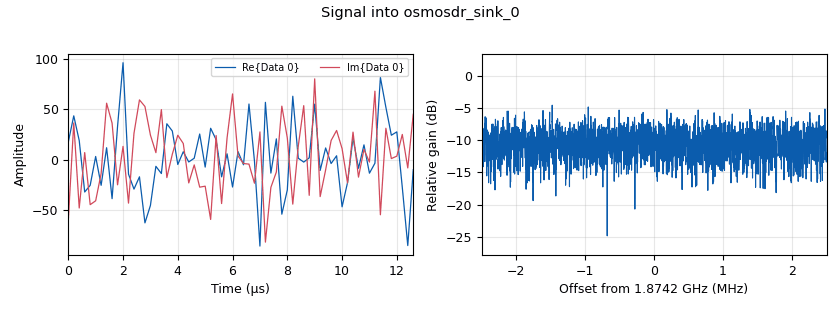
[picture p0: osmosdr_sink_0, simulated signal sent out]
<?xml version='1.0' encoding='utf-8'?>
<?grc format='1' created='3.7.11'?>
<flow_graph>
<block>
<key>options</key>
<param><key>id</key><value>jammer_gen</value></param>
<param><key>category</key><value>Custom</value></param>
<param><key>generate_options</key><value>wx_gui</value></param>
</block>
<block>
<key>variable_slider</key>
<param><key>id</key><value>bandwidth</value></param>
<param><key>converver</key><value>float_converter</value></param>
<param><key>value</key><value>var_bandwidth</value></param>
<param><key>label</key><value>Bandwidth</value></param>
<param><key>max</key><value>50e6</value></param>
<param><key>min</key><value>2e6</value></param>
<param><key>num_steps</key><value>10</value></param>
<param><key>style</key><value>wx.SL_HORIZONTAL</value></param>
</block>
<block>
<key>variable_slider</key>
<param><key>id</key><value>bb_gain</value></param>
<param><key>converver</key><value>float_converter</value></param>
<param><key>value</key><value>var_bb_gain</value></param>
<param><key>label</key><value>BB gain</value></param>
<param><key>max</key><value>60</value></param>
<param><key>min</key><value>10</value></param>
<param><key>num_steps</key><value>10</value></param>
<param><key>style</key><value>wx.SL_HORIZONTAL</value></param>
</block>
<block>
<key>variable_slider</key>
<param><key>id</key><value>cent_freq</value></param>
<param><key>converver</key><value>float_converter</value></param>
<param><key>value</key><value>var_cent_freq</value></param>
<param><key>label</key><value>Freq</value></param>
<param><key>max</key><value>2200e6</value></param>
<param><key>min</key><value>900e6</value></param>
<param><key>num_steps</key><value>500</value></param>
<param><key>style</key><value>wx.SL_HORIZONTAL</value></param>
</block>
<block>
<key>variable_slider</key>
<param><key>id</key><value>if_gain</value></param>
<param><key>converver</key><value>float_converter</value></param>
<param><key>value</key><value>var_if_gain</value></param>
<param><key>label</key><value>IF gain</value></param>
<param><key>max</key><value>60</value></param>
<param><key>min</key><value>10</value></param>
<param><key>num_steps</key><value>10</value></param>
<param><key>style</key><value>wx.SL_HORIZONTAL</value></param>
</block>
<block>
<key>variable_slider</key>
<param><key>id</key><value>rf_gain</value></param>
<param><key>converver</key><value>float_converter</value></param>
<param><key>value</key><value>var_rf_gain</value></param>
<param><key>label</key><value>RF gain</value></param>
<param><key>max</key><value>60</value></param>
<param><key>min</key><value>10</value></param>
<param><key>num_steps</key><value>10</value></param>
<param><key>style</key><value>wx.SL_HORIZONTAL</value></param>
</block>
<block>
<key>variable</key>
<param><key>id</key><value>samp_rate</value></param>
<param><key>value</key><value>5e6</value></param>
</block>
<block>
<key>variable_slider</key>
<param><key>id</key><value>sample_rate</value></param>
<param><key>converver</key><value>float_converter</value></param>
<param><key>value</key><value>samp_rate</value></param>
<param><key>label</key><value>Sample rate</value></param>
<param><key>max</key><value>20e6</value></param>
<param><key>min</key><value>2e6</value></param>
<param><key>num_steps</key><value>10</value></param>
<param><key>style</key><value>wx.SL_HORIZONTAL</value></param>
</block>
<block>
<key>variable</key>
<param><key>id</key><value>var_bandwidth</value></param>
<param><key>value</key><value>10e6</value></param>
</block>
<block>
<key>variable</key>
<param><key>id</key><value>var_bb_gain</value></param>
<param><key>value</key><value>10</value></param>
</block>
<block>
<key>variable</key>
<param><key>id</key><value>var_cent_freq</value></param>
<param><key>value</key><value>1874200000</value></param>
</block>
<block>
<key>variable</key>
<param><key>id</key><value>var_if_gain</value></param>
<param><key>value</key><value>10</value></param>
</block>
<block>
<key>variable</key>
<param><key>id</key><value>var_rf_gain</value></param>
<param><key>value</key><value>10</value></param>
</block>
<block>
<key>analog_noise_source_x</key>
<param><key>id</key><value>analog_noise_source_x_0</value></param>
<param><key>amp</key><value>50</value></param>
<param><key>noise_type</key><value>analog.GR_GAUSSIAN</value></param>
<param><key>type</key><value>complex</value></param>
<param><key>seed</key><value>0</value></param>
</block>
<block>
<key>osmosdr_sink</key>
<param><key>id</key><value>osmosdr_sink_0</value></param>
<param><key>ant0</key><value>1</value></param>
<param><key>bb_gain0</key><value>bb_gain</value></param>
<param><key>bw0</key><value>bandwidth</value></param>
<param><key>freq0</key><value>cent_freq</value></param>
<param><key>if_gain0</key><value>if_gain</value></param>
<param><key>gain0</key><value>rf_gain</value></param>
<param><key>args</key><value></value></param>
<param><key>type</key><value>fc32</value></param>
<param><key>sample_rate</key><value>sample_rate</value></param>
<param><key>sync</key><value></value></param>
</block>
<block>
<key>uhd_usrp_sink</key>
<param><key>id</key><value>uhd_usrp_sink_0</value></param>
<param><key>ant0</key><value></value></param>
<param><key>bw0</key><value>samp_rate</value></param>
<param><key>center_freq0</key><value>cent_freq</value></param>
<param><key>norm_gain0</key><value>False</value></param>
<param><key>gain0</key><value>rf_gain</value></param>
<param><key>clock_rate</key><value>0.0</value></param>
<param><key>dev_args</key><value>""</value></param>
<param><key>_enabled</key><value>0</value></param>
<param><key>type</key><value>fc32</value></param>
<param><key>samp_rate</key><value>samp_rate</value></param>
<param><key>hide_cmd_port</key><value>False</value></param>
<param><key>hide_lo_controls</key><value>True</value></param>
<param><key>sync</key><value></value></param>
<param><key>len_tag_name</key><value></value></param>
</block>
<block>
<key>xmlrpc_server</key>
<param><key>id</key><value>xmlrpc_server_0</value></param>
<param><key>addr</key><value>localhost</value></param>
<param><key>port</key><value>8888</value></param>
</block>
<connection><source_block_id>analog_noise_source_x_0</source_block_id><sink_block_id>osmosdr_sink_0</sink_block_id><source_key>0</source_key><sink_key>0</sink_key></connection>
<connection><source_block_id>analog_noise_source_x_0</source_block_id><sink_block_id>uhd_usrp_sink_0</sink_block_id><source_key>0</source_key><sink_key>0</sink_key></connection>
</flow_graph>
